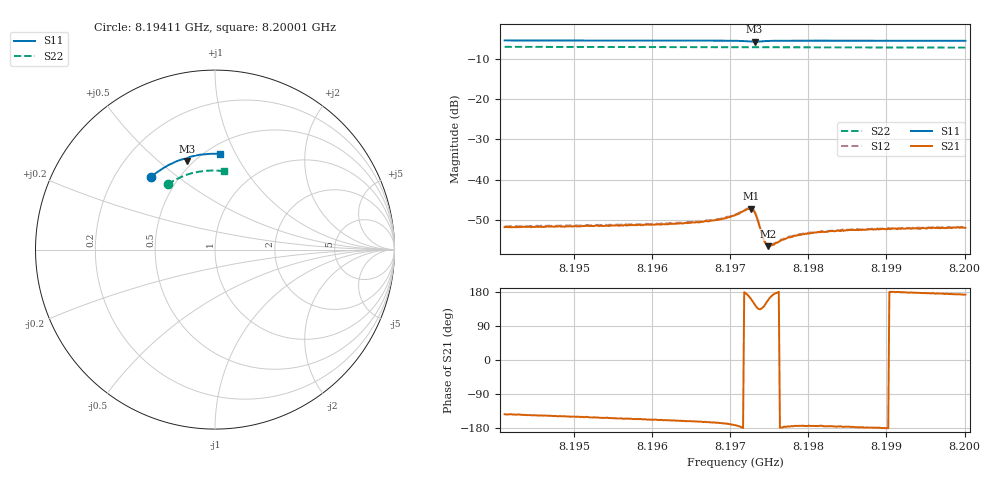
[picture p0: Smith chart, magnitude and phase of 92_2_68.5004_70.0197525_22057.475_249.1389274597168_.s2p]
#  HZ  S  RI  R  50.00
! Rohde & Schwarz Vector Network Analyzer
! Rohde-Schwarz,ZNB20-2Port,1311601062101988,3.16
! Created: UTC 3/20/2024, 4:52:42 PM
! freq[Hz]  re:S11  im:S11  re:S21  im:S21  re:S12  im:S12  re:S22  im:S22
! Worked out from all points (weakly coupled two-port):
!   401 points, 8.19411 GHz to 8.20001 GHz, reference 50 ohm
!   highest |S21| = -47.21 dB at 8.197267 GHz (marker M1); lowest = -56.5 dB at 8.197488 GHz (marker M2)
!   lowest |S11| = -5.7 dB at 8.197311 GHz (marker M3), VSWR 3.15, Z = 23.1 + j31.2 ohm
!   |S11| at or under -10 dB: nowhere
!   |S22| runs from -7.2 to -7.0 dB; largest |S21 - S12| = 0.00022
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8.1941099e9  -0.3577 0.4029  -0.00205 -0.00154  -0.00216 -0.00149  -0.2635 0.3631
8.1950982e9  -0.302 0.4452  -0.00228 -0.00132  -0.00238 -0.00125  -0.2163 0.3916
8.1960865e9  -0.2412 0.4799  -0.00257 -0.00103  -0.00265 -0.000951  -0.1658 0.4137
8.1964111e9  -0.2198 0.4896  -0.00273 -0.000934  -0.00282 -0.000843  -0.1488 0.4197
8.1967503e9  -0.1964 0.4987  -0.00299 -0.000806  -0.00306 -0.000702  -0.1304 0.4252
8.1969126e9  -0.1845 0.5024  -0.00319 -0.000716  -0.00327 -0.000589  -0.1216 0.4275
8.1970601e9  -0.1724 0.5049  -0.00358 -0.000513  -0.00367 -0.00036  -0.1134 0.4294
8.1972223e9  -0.1572 0.5019  -0.00426 0.000613  -0.00434 0.000822  -0.1043 0.4312
8.1972666e9  -0.1549 0.4978  -0.00411 0.00145  -0.00412 0.00164  -0.1019 0.4315
8.1973109e9  -0.1567 0.4942  -0.00329 0.00216  -0.00327 0.00237  -0.0997 0.432
8.1973404e9  -0.1595 0.4943  -0.00252 0.00223  -0.00247 0.00238  -0.0981 0.4323
8.1973994e9  -0.1618 0.4997  -0.00156 0.0015  -0.0015 0.0016  -0.0951 0.4329
8.1974289e9  -0.1608 0.5029  -0.00138 0.00112  -0.00138 0.00121  -0.0936 0.4334
8.1974584e9  -0.1591 0.5054  -0.00138 0.00079  -0.00135 0.000877  -0.092 0.4336
8.1974879e9  -0.1569 0.5076  -0.00139 0.000526  -0.00142 0.000622  -0.0903 0.4342
8.1975321e9  -0.1534 0.5101  -0.00149 0.000278  -0.00152 0.000345  -0.0878 0.4346
8.1976501e9  -0.1441 0.5146  -0.00176 -5.02e-05  -0.00182 3.41e-05  -0.0813 0.4356
8.1977681e9  -0.135 0.5177  -0.00191 -0.000158  -0.00196 -7.51e-05  -0.0745 0.4366
8.1980484e9  -0.1145 0.5228  -0.00216 -0.000233  -0.00219 -0.00015  -0.0588 0.4385
8.1985204e9  -0.0807 0.5288  -0.00236 -0.000167  -0.00239 -5.12e-05  -0.0323 0.4405
8.1990367e9  -0.044 0.5326  -0.00243 1.7e-05  -0.00249 0.000123  -0.00305 0.4407
8.2000103e9  0.0251 0.5328  -0.0025 0.000324  -0.00253 0.000467  0.0518 0.4358
